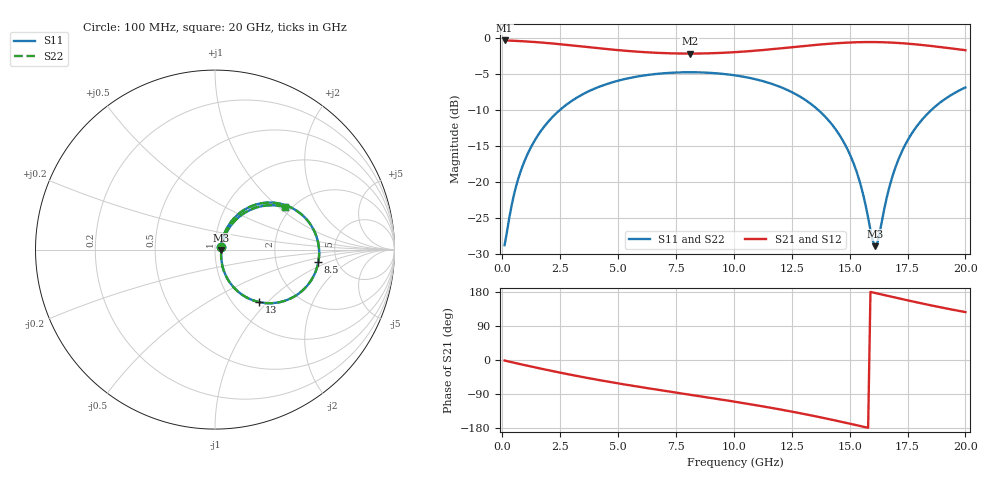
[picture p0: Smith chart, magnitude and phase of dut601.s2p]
! Touchstone file exported from HFSS 2026.1.0
!  File:  C:/ffzhzh/LocalFiles/Ansys_Project_Files/temp_train_TSV_RDL_601_1783122040_37876.aedt
!  Generated:  07:50:31 AM Jul  4, 2026
!  Design:  TSV_RDL
!  Project:  temp_train_TSV_RDL_601_1783122040_37876
! Variables:
!  h_bsmrdl = 2.71um
!  h_ox = 20um
!  h_rdl = 5um
!  h_sub = 63.11um
!  h_tmrdl = 2.3um
!  h_tsv = 63.11um
!  h_via = 3um
!  l_bsmrdl = 947.32um
!  l_sub = 3836.45um
!  l_tmrdl = 116.95um
!  m_sub = 200um
!  pitch = 39.37um
!  r_tsv = 7.14um
!  s_tmrdl = 10um
!  w_bsmrdl = 12.36um
!  w_sub = 500um
!  w_tmrdl = 29.87um
!  x_tsv_center1 = 131.885um
!  x_tsv_center2 = 1091.565um
!  x_tsv_center3 = 1238.385um
!  x_tsv_center4 = 2198.065um
!  x_tsv_center5 = 2344.885um
!  x_tsv_center6 = 3304.565um
# GHz S MA R 50.000000
! Terminal data exported
! Port[1] = TM_RDL1_1_T1
! Port[2] = TM_RDL5_1_T1
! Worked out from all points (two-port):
!   200 points, 100 MHz to 20 GHz, reference 50 ohm
!   highest |S21| = -0.29 dB at 100 MHz (marker M1); lowest = -2.1 dB at 8.1 GHz (marker M2)
!   |S21| within 3 dB of the highest: start of sweep to end of sweep
!   lowest |S11| = -28.9 dB at 16.1 GHz (marker M3), VSWR 1.07, Z = 53.7 - j0.516 ohm
!   |S11| at or under -10 dB: start of sweep to 2.476 GHz; 13.66 GHz to 18.52 GHz (4.86 GHz wide, 30.2 % of centre)
!   |S22| runs from -29.1 to -4.7 dB; largest |S21 - S12| = 1.8e-14
!   S11 on the Smith chart (normalised r, x): 100 MHz: 1.07, +0.03; 8.5 GHz: 3.58, -0.77; 13 GHz: 1.30, -0.89; 20 GHz: 1.84, +1.10
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0.1  0.03644 22.9  0.9667 -1.5  0.9667 -1.5  0.03644 22.9
! Gamma 0 0 0 0
! Port Impedance 50 0 50 0
0.6  0.09408 58.9  0.96 -8.5  0.96 -8.5  0.09408 58.9
1.2  0.1702 60.3  0.9478 -16.6  0.9478 -16.6  0.1702 60.3
2.2  0.2872 52.7  0.92 -29.6  0.92 -29.6  0.2872 52.7
3.5  0.4103 39.6  0.8756 -45.3  0.8756 -45.3  0.4103 39.6
5  0.5074 24.8  0.8279 -61.7  0.8279 -61.7  0.5075 24.8
6.8  0.5685 8.1  0.7914 -79.4  0.7914 -79.4  0.5686 8.1
8.1  0.581 -3.5  0.7834 -91.6  0.7834 -91.6  0.5811 -3.5
8.5  0.5799 -7.0  0.7842 -95.3  0.7842 -95.3  0.5799 -7.0
10.1  0.5513 -21.5  0.8025 -110.6  0.8025 -110.6  0.5513 -21.5
13  0.3807 -50.1  0.8833 -142.1  0.8833 -142.1  0.3807 -50.1
13.4  0.3428 -54.2  0.896 -147.0  0.896 -147.0  0.3428 -54.3
14.3  0.2443 -63.0  0.9214 -158.5  0.9214 -158.5  0.2443 -63.1
15  0.1573 -67.4  0.9355 -167.9  0.9355 -167.9  0.1572 -67.5
15.5  0.09267 -64.5  0.941 -174.8  0.941 -174.8  0.0925 -64.8
16.1  0.03586 -7.7  0.9419 176.8  0.9419 176.8  0.03521 -7.8
16.2  0.03798 12.7  0.9414 175.4  0.9414 175.4  0.03734 13.0
16.7  0.09026 53.2  0.9361 168.5  0.9361 168.5  0.08993 53.6
17.2  0.1556 56.6  0.9264 161.6  0.9264 161.6  0.1553 56.9
17.9  0.2445 52.4  0.9067 152.1  0.9067 152.1  0.2443 52.6
18.8  0.3465 43.8  0.8743 140.6  0.8743 140.6  0.3463 43.9
20  0.4551 31.5  0.8271 126.4  0.8271 126.4  0.455 31.6
